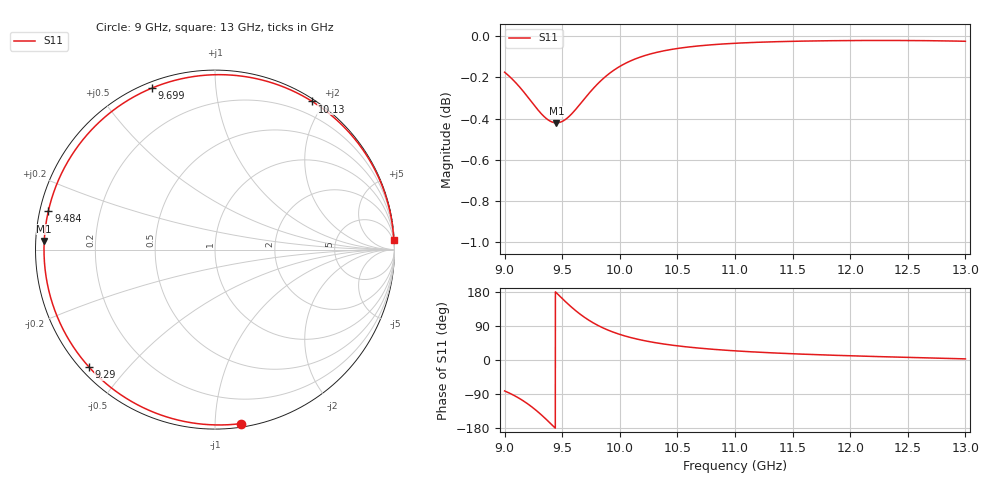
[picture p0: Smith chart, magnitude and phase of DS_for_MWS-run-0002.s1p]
! TOUCHSTONE file generated by CST DESIGN STUDIO
! Date and time: Tue Feb  4 14:09:23 2025
! Project name: C:\Work\MatlabApps\UnitCellOptimizationMatlab\CST\unitcell.cst
! Tree item: Tasks\Sweep1\SPara1\S-Parameters
! Header version: 2024
! Port assignment regex: !\s*Touchstone port\s*([0-9]+)\s*=\s*(CST MWS port|CST DES external port|CST DES block port)\s*(.+)\s* \(\"(.*)\"\)(\s*mode\s*([0-9]+))?.*
! Touchstone port assignment:
! Touchstone port 1 = CST DES external port 1 ("")
# GHz S MA R 50
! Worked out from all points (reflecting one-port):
!   4001 points, 9 GHz to 13 GHz, reference 50 ohm
!   lowest |S11| = -0.4 dB at 9.45 GHz (marker M1), VSWR 41.30, Z = 1.21 + j1.26 ohm
!   phase of S11 starts at -82 deg and turns -275 deg over the sweep
!   S11 on the Smith chart (normalised r, x): 9 GHz: 0.02, -1.16; 9.29 GHz: 0.02, -0.39; 9.484 GHz: 0.02, +0.11; 9.699 GHz: 0.03, +0.68; 10.13 GHz: 0.03, +1.85; 13 GHz: 2, +39
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9  0.9801 -81.6
9.089  0.9749 -94.7
9.162  0.9697 -107.8
9.228  0.9645 -121.8
9.29  0.9596 -137.0
9.331  0.9568 -148.0
9.376  0.9544 -160.9
9.413  0.9531 -171.8
9.45  0.9527 177.1
9.484  0.9531 166.9
9.5  0.9535 162.2
9.552  0.9557 147.3
9.6  0.9587 134.5
9.649  0.9623 122.5
9.699  0.9661 111.4
9.757  0.9703 100.2
9.822  0.9746 89.4
9.909  0.9794 77.5
10  0.9833 67.5
10.128  0.9873 56.7
10.295  0.9907 46.4
10.5  0.9932 37.4
10.723  0.9949 30.4
11  0.9961 24.1
11.5  0.9972 16.5
12  0.9976 11.1
12.5  0.9976 6.9
13  0.9972 3.0
